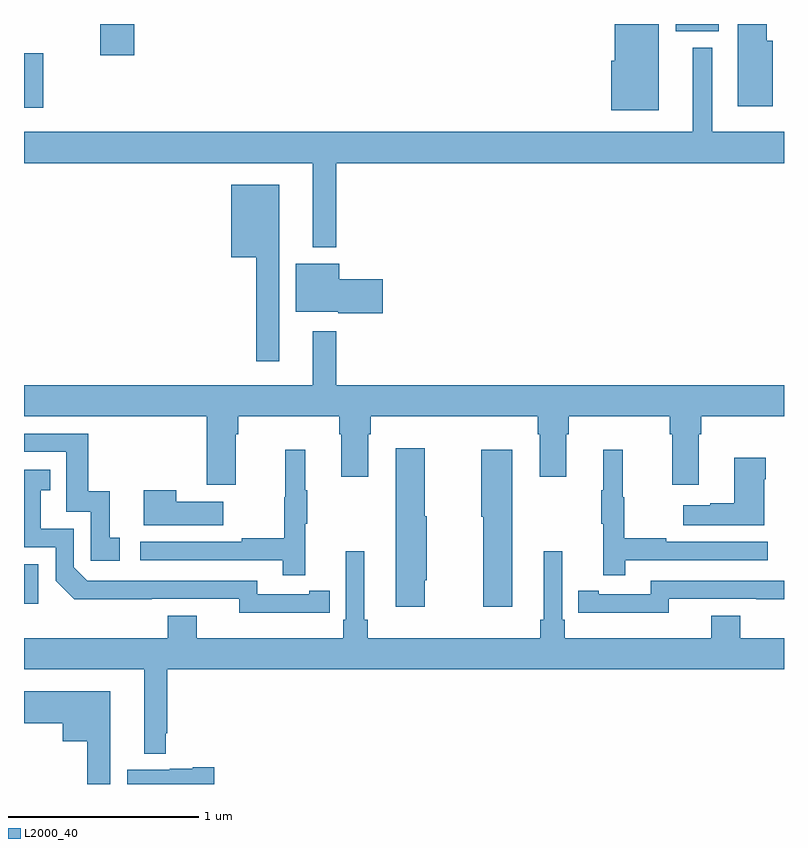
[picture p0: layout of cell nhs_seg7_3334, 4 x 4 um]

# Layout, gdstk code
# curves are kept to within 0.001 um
import gdstk
lib = gdstk.Library(unit=1e-6, precision=1e-09)
def R(c, l, rs):  # rectangles x0, y0, x1, y1
    for r in rs: c.add(gdstk.rectangle(r[:2], r[2:], *l))
def P(c, l, *ps):  # polygons
    for p in ps: c.add(gdstk.Polygon(p, *l))
L2000_40 = (2000, 40)

nhs_seg7_3334 = lib.new_cell('nhs_seg7_3334')
R(nhs_seg7_3334, L2000_40, [(323,1012.95,323.076,1013.157), (323,1015.56,323.102,1015.846), (323.401,1015.836,323.579,1016), (326.429,1015.961,326.656,1016)])
P(nhs_seg7_3334, L2000_40, [(326.341,1016),(326.108,1016),(326.108,1015.806),(326.09,1015.806),(326.09,1015.547),(326.341,1015.547)],
  [(326.941,1015.912),(326.91,1015.912),(326.91,1016),(326.756,1016),(326.756,1015.568),(326.941,1015.568)],
  [(324.643,1015.268),(327,1015.268),(327,1015.432),(326.623,1015.432),(326.623,1015.876),(326.519,1015.876),(326.519,1015.432),(323,1015.432),(323,1015.268),(324.521,1015.268),(324.521,1014.824),(324.643,1014.824)],
  [(324.343,1015.153),(324.092,1015.153),(324.092,1014.773),(324.222,1014.773),(324.222,1014.225),(324.343,1014.225)],
  [(324.889,1014.656),(324.658,1014.656),(324.658,1014.739),(324.431,1014.739),(324.431,1014.485),(324.654,1014.485),(324.654,1014.478),(324.889,1014.478)],
  [(324.115,1013.84),(324.128,1013.84),(324.128,1013.936),(324.659,1013.936),(324.659,1013.84),(324.671,1013.84),(324.671,1013.616),(324.811,1013.616),(324.811,1013.84),(324.824,1013.84),(324.824,1013.936),(325.703,1013.936),(325.703,1013.84),(325.715,1013.84),(325.715,1013.616),(325.855,1013.616),(325.855,1013.84),(325.868,1013.84),(325.868,1013.936),(326.399,1013.936),(326.399,1013.84),(326.411,1013.84),(326.411,1013.574),(326.551,1013.574),(326.551,1013.84),(326.564,1013.84),(326.564,1013.936),(327,1013.936),(327,1014.1),(324.643,1014.1),(324.643,1014.382),(324.521,1014.382),(324.521,1014.1),(323,1014.1),(323,1013.936),(323.963,1013.936),(323.963,1013.574),(324.115,1013.574)],
  [(323.503,1013.295),(323.45,1013.295),(323.45,1013.542),(323.339,1013.542),(323.339,1013.844),(323,1013.844),(323,1013.748),(323.223,1013.748),(323.223,1013.433),(323.352,1013.433),(323.352,1013.175),(323.503,1013.175)],
  [(325.11,1013.073),(325.12,1013.073),(325.12,1013.409),(325.11,1013.409),(325.11,1013.767),(324.956,1013.767),(324.956,1012.932),(325.11,1012.932)],
  [(326.165,1013.178),(326.914,1013.178),(326.914,1013.274),(326.381,1013.274),(326.381,1013.294),(326.158,1013.294),(326.158,1013.508),(326.15,1013.508),(326.15,1013.758),(326.048,1013.758),(326.048,1013.545),(326.037,1013.545),(326.037,1013.371),(326.048,1013.371),(326.048,1013.1),(326.165,1013.1)],
  [(324.479,1013.371),(324.49,1013.371),(324.49,1013.545),(324.479,1013.545),(324.479,1013.758),(324.376,1013.758),(324.376,1013.508),(324.369,1013.508),(324.369,1013.294),(324.145,1013.294),(324.145,1013.274),(323.613,1013.274),(323.613,1013.178),(324.361,1013.178),(324.361,1013.1),(324.479,1013.1)],
  [(325.57,1013.758),(325.406,1013.758),(325.406,1013.406),(325.417,1013.406),(325.417,1012.932),(325.57,1012.932)],
  [(326.896,1013.603),(326.904,1013.603),(326.904,1013.716),(326.738,1013.716),(326.738,1013.477),(326.612,1013.477),(326.612,1013.467),(326.469,1013.467),(326.469,1013.363),(326.896,1013.363)],
  [(324.5,1012.902),(324.608,1012.902),(324.608,1013.018),(324.5,1013.018),(324.5,1012.998),(324.228,1012.998),(324.228,1013.07),(323.334,1013.07),(323.262,1013.142),(323.262,1013.343),(323.089,1013.343),(323.089,1013.547),(323.138,1013.547),(323.138,1013.653),(323,1013.653),(323,1013.247),(323.166,1013.247),(323.166,1013.07),(323.264,1012.973),(324.132,1012.974),(324.132,1012.901)],
  [(324.049,1013.485),(323.801,1013.485),(323.801,1013.545),(323.63,1013.545),(323.63,1013.363),(324.049,1013.363)],
  [(323.747,1012.267),(323.755,1012.267),(323.755,1012.604),(327,1012.604),(327,1012.768),(326.771,1012.768),(326.771,1012.885),(326.618,1012.885),(326.618,1012.768),(325.847,1012.768),(325.847,1012.864),(325.833,1012.864),(325.833,1013.224),(325.736,1013.224),(325.736,1012.864),(325.717,1012.864),(325.717,1012.768),(324.809,1012.768),(324.809,1012.864),(324.79,1012.864),(324.79,1013.224),(324.693,1013.224),(324.693,1012.864),(324.68,1012.864),(324.68,1012.768),(323.908,1012.768),(323.908,1012.885),(323.756,1012.885),(323.756,1012.768),(323,1012.768),(323,1012.604),(323.633,1012.604),(323.633,1012.16),(323.747,1012.16)],
  [(326.394,1012.974),(326.854,1012.974),(326.854,1012.973),(327,1012.973),(327,1013.07),(326.298,1013.07),(326.298,1012.998),(326.026,1012.998),(326.026,1013.018),(325.918,1013.018),(325.918,1012.902),(326.026,1012.902),(326.026,1012.901),(326.394,1012.901)],
  [(323.455,1012.489),(323,1012.489),(323,1012.319),(323.204,1012.319),(323.204,1012.226),(323.334,1012.226),(323.334,1012),(323.455,1012)],
  [(324.001,1012.088),(323.888,1012.088),(323.888,1012.081),(323.766,1012.081),(323.766,1012.075),(323.543,1012.075),(323.543,1012),(324.001,1012)])

lib.write_gds('nhs_seg7_3334.gds')
